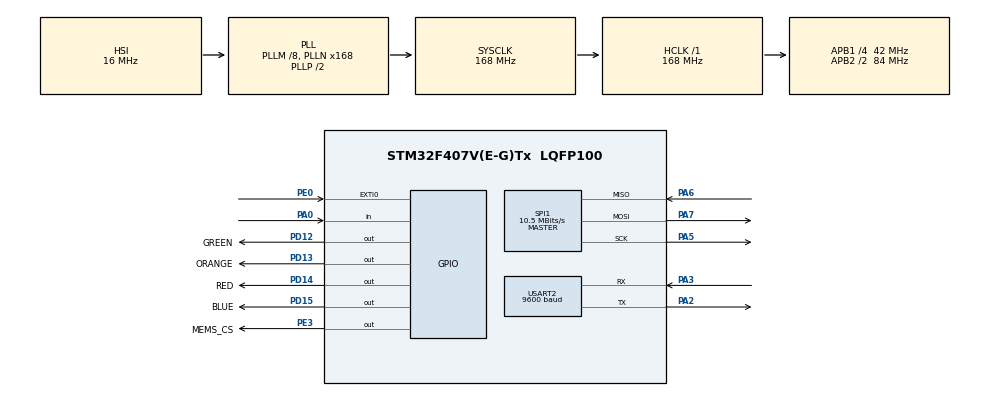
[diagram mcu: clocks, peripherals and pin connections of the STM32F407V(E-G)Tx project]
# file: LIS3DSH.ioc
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Mcu.Family=STM32F4
Mcu.Name=STM32F407V(E-G)Tx
Mcu.Package=LQFP100
NVIC.EXTI0_IRQn=true\:0\:0\:false\:false\:true\:true\:true
NVIC.PriorityGroup=NVIC_PRIORITYGROUP_0
PA0-WKUP.Signal=GPIO_Input
PA2.Mode=Asynchronous
PA2.Signal=USART2_TX
PA3.Mode=Asynchronous
PA3.Signal=USART2_RX
PA5.Mode=Full_Duplex_Master
PA5.Signal=SPI1_SCK
PA6.Mode=Full_Duplex_Master
PA6.Signal=SPI1_MISO
PA7.Mode=Full_Duplex_Master
PA7.Signal=SPI1_MOSI
PD12.GPIO_Label=GREEN
PD12.Signal=GPIO_Output
PD13.GPIO_Label=ORANGE
PD13.Signal=GPIO_Output
PD14.GPIO_Label=RED
PD14.Signal=GPIO_Output
PD15.GPIO_Label=BLUE
PD15.Signal=GPIO_Output
PE0.Signal=GPXTI0
PE3.GPIO_Label=MEMS_CS
PE3.Signal=GPIO_Output
ProjectManager.HeapSize=0x200
ProjectManager.StackSize=0x400
ProjectManager.TargetToolchain=MDK-ARM V5
RCC.48MHZClocksFreq_Value=48000000
RCC.AHBFreq_Value=168000000
RCC.APB1CLKDivider=RCC_HCLK_DIV4
RCC.APB1Freq_Value=42000000
RCC.APB1TimFreq_Value=84000000
RCC.APB2CLKDivider=RCC_HCLK_DIV2
RCC.APB2Freq_Value=84000000
RCC.APB2TimFreq_Value=168000000
RCC.CortexFreq_Value=168000000
RCC.HCLKFreq_Value=168000000
RCC.HSE_VALUE=8000000
RCC.HSI_VALUE=16000000
RCC.LSE_VALUE=32768
RCC.PLLM=8
RCC.PLLN=168
RCC.PLLQ=7
RCC.SYSCLKFreq_VALUE=168000000
RCC.SYSCLKSource=RCC_SYSCLKSOURCE_PLLCLK
RCC.VCOOutputFreq_Value=336000000
SPI1.BaudRatePrescaler=SPI_BAUDRATEPRESCALER_8
SPI1.CalculateBaudRate=10.5 MBits/s
SPI1.Direction=SPI_DIRECTION_2LINES
SPI1.Mode=SPI_MODE_MASTER
SPI1.VirtualType=VM_MASTER
USART2.BaudRate=9600
USART2.VirtualMode=VM_ASYNC
board=STM32F407G-DISC1

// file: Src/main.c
/* USER CODE BEGIN Header */
/**
  ******************************************************************************
  * @file           : main.c
  * @brief          : Main program body
  ******************************************************************************
  * @attention
  *
  * <h2><center>&copy; Copyright (c) 2021 STMicroelectronics.
  * All rights reserved.</center></h2>
  *
  * This software component is licensed by ST under BSD 3-Clause license,
  * the "License"; You may not use this file except in compliance with the
  * License. You may obtain a copy of the License at:
  *                        opensource.org/licenses/BSD-3-Clause
  *
  ******************************************************************************
  */
/* USER CODE END Header */

#include "main.h"
#include "stm32f4xx_hal.h"
#include "user_settings.h"

/* USER CODE BEGIN Includes */
#include "MY_LIS3DSH.h"
#include <stdio.h>
#include <stdlib.h>
#include <math.h>
/* USER CODE END Includes */

SPI_HandleTypeDef hspi1;

UART_HandleTypeDef huart2;

static void SystemClock_Config(void);
static void MX_GPIO_Init(void);
static void MX_SPI1_Init(void);
static void MX_USART2_UART_Init(void);
static void InitDWTConfig(void);
static float CalculateCalories(float, float,unsigned long);
static void PrintAccelerometerXYZValues(int16_t ,int16_t ,int16_t ,float,float);
static void DetectSquats(int16_t, int16_t, int16_t, float, float);
static void DetectJumpingJacks(int16_t, int16_t, int16_t, float, float);
static void DetectSitups(int16_t, int16_t, int16_t, float, float);
static float CheckSitupsIntensity(void);
static void DetectExercise(void);
static void ExerciseAccelerometerData(void);
static void SuryanamaskarAccelerometerData(void);
static void DetectSuryanamaskar(int16_t,int16_t,int16_t,float,float);

/* USER CODE BEGIN 0 */

LIS3DSH_DataRaw myDataRaw;
LIS3DSH_DataScaled myDataScaled;

struct oddVal
{
	int16_t x;
	int16_t y;
	int16_t z;
	float Roll;
	float Pitch;
};

struct eveVal
{
	int16_t x;
	int16_t y;
	int16_t z;
	float Roll;
	float Pitch;
};

struct diffVal
{
	int16_t x;
	int16_t y;
	int16_t z;
	float Roll;
	float Pitch;
};

uint8_t drdyFlag = 0;
float Roll,Pitch;
unsigned long t1=0,t2=0,diff=0;
int16_t ExerciseCounter = 1,SquatsCount = 0, JumpJackCount = 0,SitupsCount = 0, mode=0, SuryaNamaskarPose = 0, SuryaNamaskarCount = 0;
struct oddVal v1 = {0};
struct eveVal v2 = {0};
struct diffVal v3 = {0};
//struct diffVal v4 = {0};
GPIO_PinState myPushButton;

/* USER CODE END 0 */

int main(void)
{
  /* USER CODE BEGIN 1 */
	LIS3DSH_InitTypeDef myAccConfigDef;
	//struct oddVal v1 = {0};
	//struct eveVal v2 = {0};
	//struct diffVal v3 = {0};
	//FILE *fptr = NULL;
	//float myVar = 1.23456;
  /* USER CODE END 1 */

  /* MCU Configuration--------------------------------------------------------*/

  /* Reset of all peripherals, Initializes the Flash interface and the Systick. */
  HAL_Init();

  /* Configure the system clock */
  SystemClock_Config();

  /* Initialize all configured peripherals */
  MX_GPIO_Init();
  MX_SPI1_Init();
  MX_USART2_UART_Init();
	InitDWTConfig();
  /* USER CODE BEGIN 2 */
	myAccConfigDef.dataRate = LIS3DSH_DATARATE_12_5;
	myAccConfigDef.fullScale= LIS3DSH_FULLSCALE_4;
	myAccConfigDef.enableAxes= LIS3DSH_XYZ_ENABLE;
	myAccConfigDef.antiAliasingBW= LIS3DSH_FILTER_BW_50;
	myAccConfigDef.interruptEnable = true;
	LIS3DSH_Init(&hspi1,&myAccConfigDef);

	//LIS3DSH_X_calibrate(-1000,980);
	//LIS3DSH_Y_calibrate(-1020,1040);
	//LIS3DSH_Z_calibrate(-920,1040);
  /* USER CODE END 2 */

  /* Infinite loop */
  /* USER CODE BEGIN WHILE */
	//fptr = fopen("F:/STM32F407/LIS3DSH_ThirdAttempt/LIS3DSH/MDK-ARM/logs/log.txt","a");
	/*if(fptr == NULL)
	{
		printf("Could not open log file\n");
		return EXIT_FAILURE;
	}
	fprintf(fptr,"opening log file...\n");*/
	printf("\r 5 seconds delay, long press the push button\n");
	HAL_Delay(5000);
	myPushButton = HAL_GPIO_ReadPin(GPIOA,GPIO_PIN_0);
	if(myPushButton == 1)
	{
			mode = mode + 1;
	}
  while (1)
  {
    /* USER CODE END WHILE */
    /* USER CODE BEGIN 3 */
		if(drdyFlag == 1)
		{
			drdyFlag = 0;
			DetectExercise();
		}
  }
	//fprintf(fptr,"closing log file...\n");
	//fclose(fptr);
	//fptr = NULL;
	//return EXIT_SUCCESS;
  /* USER CODE END 3 */
}

void SystemClock_Config(void)
{
  RCC_OscInitTypeDef RCC_OscInitStruct = {0};
  RCC_ClkInitTypeDef RCC_ClkInitStruct = {0};

  /** Configure the main internal regulator output voltage
  */
  __HAL_RCC_PWR_CLK_ENABLE();
  __HAL_PWR_VOLTAGESCALING_CONFIG(PWR_REGULATOR_VOLTAGE_SCALE1);
  /** Initializes the RCC Oscillators according to the specified parameters
  * in the RCC_OscInitTypeDef structure.
  */
  RCC_OscInitStruct.OscillatorType = RCC_OSCILLATORTYPE_HSI;
  RCC_OscInitStruct.HSIState = RCC_HSI_ON;
  RCC_OscInitStruct.HSICalibrationValue = RCC_HSICALIBRATION_DEFAULT;
  RCC_OscInitStruct.PLL.PLLState = RCC_PLL_ON;
  RCC_OscInitStruct.PLL.PLLSource = RCC_PLLSOURCE_HSI;
  RCC_OscInitStruct.PLL.PLLM = 8;
  RCC_OscInitStruct.PLL.PLLN = 168;
  RCC_OscInitStruct.PLL.PLLP = RCC_PLLP_DIV2;
  RCC_OscInitStruct.PLL.PLLQ = 7;
  if (HAL_RCC_OscConfig(&RCC_OscInitStruct) != HAL_OK)
  {
    Error_Handler();
  }
  /** Initializes the CPU, AHB and APB buses clocks
  */
  RCC_ClkInitStruct.ClockType = RCC_CLOCKTYPE_HCLK|RCC_CLOCKTYPE_SYSCLK
                              |RCC_CLOCKTYPE_PCLK1|RCC_CLOCKTYPE_PCLK2;
  RCC_ClkInitStruct.SYSCLKSource = RCC_SYSCLKSOURCE_PLLCLK;
  RCC_ClkInitStruct.AHBCLKDivider = RCC_SYSCLK_DIV1;
  RCC_ClkInitStruct.APB1CLKDivider = RCC_HCLK_DIV4;
  RCC_ClkInitStruct.APB2CLKDivider = RCC_HCLK_DIV2;

  if (HAL_RCC_ClockConfig(&RCC_ClkInitStruct, FLASH_LATENCY_5) != HAL_OK)
  {
    Error_Handler();
  }
}

static void MX_SPI1_Init(void)
{

  /* SPI1 parameter configuration*/
  hspi1.Instance = SPI1;
  hspi1.Init.Mode = SPI_MODE_MASTER;
  hspi1.Init.Direction = SPI_DIRECTION_2LINES;
  hspi1.Init.DataSize = SPI_DATASIZE_8BIT;
  hspi1.Init.CLKPolarity = SPI_POLARITY_LOW;
  hspi1.Init.CLKPhase = SPI_PHASE_1EDGE;
  hspi1.Init.NSS = SPI_NSS_SOFT;
  hspi1.Init.BaudRatePrescaler = SPI_BAUDRATEPRESCALER_8;
  hspi1.Init.FirstBit = SPI_FIRSTBIT_MSB;
  hspi1.Init.TIMode = SPI_TIMODE_DISABLE;
  hspi1.Init.CRCCalculation = SPI_CRCCALCULATION_DISABLE;
  hspi1.Init.CRCPolynomial = 10;
  if (HAL_SPI_Init(&hspi1) != HAL_OK)
  {
    Error_Handler();
  }

}

static void MX_USART2_UART_Init(void)
{

  huart2.Instance = USART2;
  huart2.Init.BaudRate = 9600;
  huart2.Init.WordLength = UART_WORDLENGTH_8B;
  huart2.Init.StopBits = UART_STOPBITS_1;
  huart2.Init.Parity = UART_PARITY_NONE;
  huart2.Init.Mode = UART_MODE_TX_RX;
  huart2.Init.HwFlowCtl = UART_HWCONTROL_NONE;
  huart2.Init.OverSampling = UART_OVERSAMPLING_16;
  if (HAL_UART_Init(&huart2) != HAL_OK)
  {
    Error_Handler();
  }

}

static void MX_GPIO_Init(void)
{
  GPIO_InitTypeDef GPIO_InitStruct = {0};

  /* GPIO Ports Clock Enable */
  __HAL_RCC_GPIOE_CLK_ENABLE();
  __HAL_RCC_GPIOA_CLK_ENABLE();
  __HAL_RCC_GPIOD_CLK_ENABLE();

  /*Configure GPIO pin Output Level */
  HAL_GPIO_WritePin(MEMS_CS_GPIO_Port, MEMS_CS_Pin, GPIO_PIN_RESET);

  /*Configure GPIO pin Output Level */
  HAL_GPIO_WritePin(GPIOD, GREEN_Pin|ORANGE_Pin|RED_Pin|BLUE_Pin, GPIO_PIN_RESET);

  /*Configure GPIO pin : MEMS_CS_Pin */
  GPIO_InitStruct.Pin = MEMS_CS_Pin;
  GPIO_InitStruct.Mode = GPIO_MODE_OUTPUT_PP;
  GPIO_InitStruct.Pull = GPIO_NOPULL;
  GPIO_InitStruct.Speed = GPIO_SPEED_FREQ_LOW;
  HAL_GPIO_Init(MEMS_CS_GPIO_Port, &GPIO_InitStruct);

  /*Configure GPIO pin : PA0 */
  GPIO_InitStruct.Pin = GPIO_PIN_0;
  GPIO_InitStruct.Mode = GPIO_MODE_INPUT;
  GPIO_InitStruct.Pull = GPIO_NOPULL;
  HAL_GPIO_Init(GPIOA, &GPIO_InitStruct);

  /*Configure GPIO pins : GREEN_Pin ORANGE_Pin RED_Pin BLUE_Pin */
  GPIO_InitStruct.Pin = GREEN_Pin|ORANGE_Pin|RED_Pin|BLUE_Pin;
  GPIO_InitStruct.Mode = GPIO_MODE_OUTPUT_PP;
  GPIO_InitStruct.Pull = GPIO_NOPULL;
  GPIO_InitStruct.Speed = GPIO_SPEED_FREQ_LOW;
  HAL_GPIO_Init(GPIOD, &GPIO_InitStruct);

  /*Configure GPIO pin : PE0 */
  GPIO_InitStruct.Pin = GPIO_PIN_0;
  GPIO_InitStruct.Mode = GPIO_MODE_IT_RISING;
  GPIO_InitStruct.Pull = GPIO_NOPULL;
  HAL_GPIO_Init(GPIOE, &GPIO_InitStruct);

  /* EXTI interrupt init*/
  HAL_NVIC_SetPriority(EXTI0_IRQn, 0, 0);
  HAL_NVIC_EnableIRQ(EXTI0_IRQn);

}

void PrintAccelerometerXYZValues(int16_t x,int16_t y,int16_t z,float roll,float pitch)
{
			printf(" **************************************** \n");
			printf(" **********RAW DATA********** \n");
			printf(" X value = %d\n",x);
			printf(" Y value = %d\n",y);
			printf(" Z value = %d\n",z);
			//printf(" **********SCALED DATA********** \n");
	    //printf(" myDataScaled.x = %f\n",myDataScaled.x);
			//printf(" myDataScaled.y = %f\n",myDataScaled.y);
			//printf(" myDataScaled.z = %f\n",myDataScaled.z);
			printf(" **********ANGLE DATA********** \n");
			printf("Roll = %f\n",roll);
			printf("Pitch = %f\n",pitch);
			printf("\n");
			printf(" **************************************** \n");
}

void DetectExercise(void)
{
				if(mode >= 1)
				{
					printf("\rExercise Mode: Yoga\n");
					HAL_GPIO_TogglePin(GPIOD,BLUE_Pin);
					SuryanamaskarAccelerometerData();
					t1 = DWT->CYCCNT;
					DetectSuryanamaskar(v1.x,v1.y,v1.z,v1.Roll,v1.Pitch);
					if(SuryaNamaskarCount == MAX_SURYANAMASKAR_COUNT)
					{
						printf("***ALL SURYANAMASKARS COMPLETED, LETS MOVE TO NEXT EXERCISE, 5 seconds break!!!****\n");
						t2 = DWT->CYCCNT;
						diff = t2-t1;
						printf("Calories Burnt = %0.5f\n",CalculateCalories(MET_SURYANAMASKAR,WEIGHT,(diff/168000000)));
						HAL_Delay(5000);
					}
				}
				else
				{
					printf("\rNormal Exercise Mode\n");
					ExerciseAccelerometerData();
					if((v3.z < v3.x) && (v3.z < v3.y) && (v3.Pitch >= 15) && (v3.Roll <= 50))
					{
						printf("****************Squats detected!!!!!!!!**********************\n");
						t1 = DWT->CYCCNT;
						HAL_GPIO_TogglePin(GPIOD,GREEN_Pin);
						while(1)
						{
								ExerciseAccelerometerData();
								if((ExerciseCounter % 2 != 0) && (ExerciseCounter > 1))
								{
									DetectSquats(v3.x,v3.y,v3.z,v3.Roll,v3.Pitch);
								}
								if(SquatsCount == MAX_SQUATS_COUNT)
								{
									printf("***ALL SQUATS COMPLETED, LETS MOVE TO NEXT EXERCISE, 5 seconds break!!!****\n");
									t2 = DWT->CYCCNT;
									diff = t2-t1;
									printf("Calories Burnt = %0.5f\n",CalculateCalories(MET_SQUATS,WEIGHT,(diff/168000000)));
									HAL_Delay(5000);
								}
						}
					}
					else if((v3.x < v3.y) && (v3.x < v3.z) && (v3.Pitch >= 80) && (v3.Roll >= 80))
					{
						printf("****************Jumping Jacks detected!!!!!!!!**********************\n");
						t1 = DWT->CYCCNT;
						HAL_GPIO_TogglePin(GPIOD,ORANGE_Pin);
						while(1)
						{
								ExerciseAccelerometerData();
								if((ExerciseCounter % 2 != 0) && (ExerciseCounter > 1))
								{
									DetectJumpingJacks(v3.x,v3.y,v3.z,v3.Roll,v3.Pitch);
								}
								if(JumpJackCount == MAX_JUMPINGJACKS_COUNT)
								{
									printf("***ALL JUMPING JACKS COMPLETED, LETS MOVE TO NEXT EXERCISE, 5 seconds break!!!****\n");
									t2 = DWT->CYCCNT;
									diff = t2-t1;
									printf("Calories Burnt = %0.5f\n",CalculateCalories(MET_JUMPINGJACKS,WEIGHT,(diff/168000000)));
									HAL_Delay(5000);
								}
						}
					}
					else if((v3.z < v3.x) && (v3.z < v3.y) && (v3.Pitch >= 100) && (v3.Roll >= 50))
					{
						printf("****************Situpps detected!!!!!!!!**********************\n");
						t1 = DWT->CYCCNT;
						HAL_GPIO_TogglePin(GPIOD,RED_Pin);
						while(1)
						{
								ExerciseAccelerometerData();
								if((ExerciseCounter % 2 != 0) && (ExerciseCounter > 1))
								{
									DetectSitups(v3.x,v3.y,v3.z,v3.Roll,v3.Pitch);
								}
								if(SitupsCount == MAX_SITUPS_COUNT)
								{
									printf("***ALL SITUPS COMPLETED, LETS MOVE TO NEXT EXERCISE, 5 seconds break!!!****\n");
									t2 = DWT->CYCCNT;
									diff = t2-t1;
									printf("Calories Burnt = %0.5f\n",CalculateCalories(CheckSitupsIntensity(),WEIGHT,(diff/168000000)));
									HAL_Delay(5000);
								}
						}
					}
				}
}

void DetectSquats(int16_t xVal, int16_t yVal, int16_t zVal, float Roll, float Pitch)
{

		if((zVal < xVal) && (zVal < yVal) && (Pitch >= 15))
		{
			SquatsCount = SquatsCount + 1;
			printf("Squats count = %d \n",SquatsCount);
		}
}

void DetectJumpingJacks(int16_t xVal, int16_t yVal, int16_t zVal, float Roll, float Pitch)
{

		if((xVal < yVal) && (xVal < zVal) && (Pitch >= 100) && (Roll >= 100))
		{
			JumpJackCount = JumpJackCount + 1;
			printf("Jumping Jacks count = %d \n",JumpJackCount);
		}
}

void DetectSitups(int16_t xVal, int16_t yVal, int16_t zVal, float Roll, float Pitch)
{
		if((zVal < xVal) && (zVal < yVal) && (Pitch >= 100) && (Roll >= 50))
		{
			SitupsCount = SitupsCount + 1;
			printf("Situps Count = %d \n",SitupsCount);
		}
}
void DetectSuryanamaskar(int16_t xVal, int16_t yVal, int16_t zVal, float Roll, float Pitch)
{
	if((xVal > 0) && (yVal < 0) && (zVal > 0) && (SuryaNamaskarPose == 0))
	{
		printf("\rSurya Namaskar Pose 1 : Prarthana Mudra\n");
		SuryaNamaskarPose = SuryaNamaskarPose + 1;
	}
	else if((xVal > 0) && (yVal < 0) && (zVal < 0) && (SuryaNamaskarPose == 1))
	{
		printf("\rSurya Namaskar Pose 2 : Hastottanasan\n");
		SuryaNamaskarPose = SuryaNamaskarPose + 1;
	}
	else if((xVal > 0) && (yVal > 0) && (zVal < 0) && (SuryaNamaskarPose == 2))
	{
		printf("\rSurya Namaskar Pose 3 : Padhastasan \n");
		SuryaNamaskarPose = SuryaNamaskarPose + 1;
	}
	else if((xVal < 0) && (yVal > 0) && (zVal > 0) && (SuryaNamaskarPose == 3))
	{
		printf("\rSurya Namaskar Pose 4 : Ashwa Sanchalanasan\n");
		SuryaNamaskarPose = SuryaNamaskarPose + 1;
	}
	else if((xVal < 0) && (yVal > 0) && (zVal > 0) && (SuryaNamaskarPose == 4))
	{
		printf("\rSurya Namaskar Pose 5 : Dandasan\n");
		SuryaNamaskarPose = SuryaNamaskarPose + 1;
	}
	else if((xVal > 0) && (yVal > 0) && (zVal > 0) && (SuryaNamaskarPose == 5))
	{
		printf("\rSurya Namaskar Pose 6 : Ashtang Pranam\n");
		SuryaNamaskarPose = SuryaNamaskarPose + 1;
	}
	else if((xVal < 0) && (yVal > 0) && (zVal > 0) && (SuryaNamaskarPose == 6))
	{
		printf("\rSurya Namaskar Pose 7 : Bhujangasan\n");
		SuryaNamaskarPose = SuryaNamaskarPose + 1;
	}
	else if((xVal < 0) && (yVal > 0) && (zVal > 0 ) && (SuryaNamaskarPose == 7))
	{
		printf("\rSurya Namaskar Pose 8 : Parvatasan\n");
		SuryaNamaskarPose = SuryaNamaskarPose + 1;
	}
	else if((xVal > 0) && (yVal > 0) && (zVal > 0) && (SuryaNamaskarPose == 8))
	{
		printf("\rSurya Namaskar Pose 9 : Ashwa Sanchalanasan\n");
		SuryaNamaskarPose = SuryaNamaskarPose + 1;
	}
	else if((xVal > 0) && (yVal > 0) && (zVal < 0) && (SuryaNamaskarPose == 9))
	{
		printf("\rSurya Namaskar Pose 10 : Padhastasan\n");
		SuryaNamaskarPose = SuryaNamaskarPose + 1;
	}
	else if((xVal > 0) && (yVal < 0) && (zVal < 0) && (SuryaNamaskarPose == 10))
	{
		printf("\rSurya Namaskar Pose 11 : Hastottanasan\n");
		SuryaNamaskarPose = SuryaNamaskarPose + 1;
	}
	else if((xVal > 0) && (yVal < 0) && (zVal > 0) && (SuryaNamaskarPose == 11))
	{
		printf("\rSurya Namaskar Pose 12 : Prarthana Mudra\n");
		SuryaNamaskarPose = SuryaNamaskarPose + 1;
	}
	else if(SuryaNamaskarPose == 12)
	{
		printf("\rSurya Namaskar Completed\n");
		SuryaNamaskarCount = SuryaNamaskarCount + 1;
		SuryaNamaskarPose = 0;
	}
}

void ExerciseAccelerometerData()
{

			if(ExerciseCounter % 2 != 0)
			{
				printf("3 seconds delay initiated\n");
				HAL_Delay(3000);
				printf("Taking Initial values\n");
				myDataRaw = LIS3DSH_GetDataRaw();
				myDataScaled = LIS3DSH_GetDataScaled();
				Roll = CalcAngle(myDataScaled.z,myDataScaled.x);
				Pitch = CalcAngle(myDataScaled.z,myDataScaled.y);
				v1.x = myDataRaw.x;
				v1.y = myDataRaw.y;
				v1.z = myDataRaw.z;
				v1.Roll = Roll;
				v1.Pitch = Pitch;
				PrintAccelerometerXYZValues(v1.x,v1.y,v1.z,v1.Roll,v1.Pitch);
				ExerciseCounter = ExerciseCounter + 1;
			}
			else
			{
					printf("3 seconds delay initiated\n");
					HAL_Delay(3000);
					printf("Taking final values\n");
					myDataRaw = LIS3DSH_GetDataRaw();
					myDataScaled = LIS3DSH_GetDataScaled();
					Roll = CalcAngle(myDataScaled.z,myDataScaled.x);
					Pitch = CalcAngle(myDataScaled.z,myDataScaled.y);
					v2.x = myDataRaw.x;
					v2.y = myDataRaw.y;
					v2.z = myDataRaw.z;
					v2.Roll = Roll;
					v2.Pitch = Pitch;
					PrintAccelerometerXYZValues(v2.x,v2.y,v2.z,v2.Roll,v2.Pitch);
					ExerciseCounter = ExerciseCounter + 1;
			}
			if(v1.x != 0 && v2.x != 0 && (ExerciseCounter % 2 != 0) && (ExerciseCounter > 1))
			{
				v3.x = abs(abs(v2.x) - abs(v1.x));
				v3.y = abs(abs(v2.y) - abs(v1.y));
				v3.z = abs(abs(v2.z) - abs(v1.z));
				v3.Roll = abs((abs((int)(v2.Roll)) - abs((int)(v1.Roll))));
				v3.Pitch = abs((abs((int)(v2.Pitch)) - abs((int)(v1.Pitch))));
				PrintAccelerometerXYZValues(v3.x,v3.y,v3.z,v3.Roll,v3.Pitch);
			}

}

void SuryanamaskarAccelerometerData()
{
				printf("5 seconds delay initiated\n");
				HAL_Delay(5000);
				printf("Taking Initial values\n");
				myDataRaw = LIS3DSH_GetDataRaw();
				myDataScaled = LIS3DSH_GetDataScaled();
				Roll = CalcAngle(myDataScaled.z,myDataScaled.x);
				Pitch = CalcAngle(myDataScaled.z,myDataScaled.y);
				v1.x = myDataRaw.x;
				v1.y = myDataRaw.y;
				v1.z = myDataRaw.z;
				v1.Roll = Roll;
				v1.Pitch = Pitch;
				PrintAccelerometerXYZValues(v1.x,v1.y,v1.z,v1.Roll,v1.Pitch);
}

float CalculateCalories(float MET, float weight,unsigned long duration)
{
	float calories = 0.0f;
	calories = ((MET*7.7f*weight*2.2f)/(200*60));
	return (calories*CALORIES);
}

float CheckSitupsIntensity()
{
	if(SITUPS_INTENSITY == 1)
		return MET_SITUPS_LIGHT;
	else if(SITUPS_INTENSITY == 2)
		return MET_SITUPS_MODERATE;
	else
		return MET_SITUPS_VIGOROUS;
}

void InitDWTConfig(void)
{
	CoreDebug->DEMCR |= CoreDebug_DEMCR_TRCENA_Msk;
	DWT->CYCCNT = 0;
	DWT->CTRL |= DWT_CTRL_CYCCNTENA_Msk;
}

/* USER CODE BEGIN 4 */
void HAL_GPIO_EXTI_Callback(uint16_t GPIO_Pin)
{
  /* Prevent unused argument(s) compilation warning */
  UNUSED(GPIO_Pin);
  /* NOTE: This function Should not be modified, when the callback is needed,
           the HAL_GPIO_EXTI_Callback could be implemented in the user file
   */
	drdyFlag = 1;
}

/* USER CODE END 4 */

void Error_Handler(void)
{
  __disable_irq();
  while (1)
  {
  }
}

/************************ (C) COPYRIGHT STMicroelectronics *****END OF FILE****/
